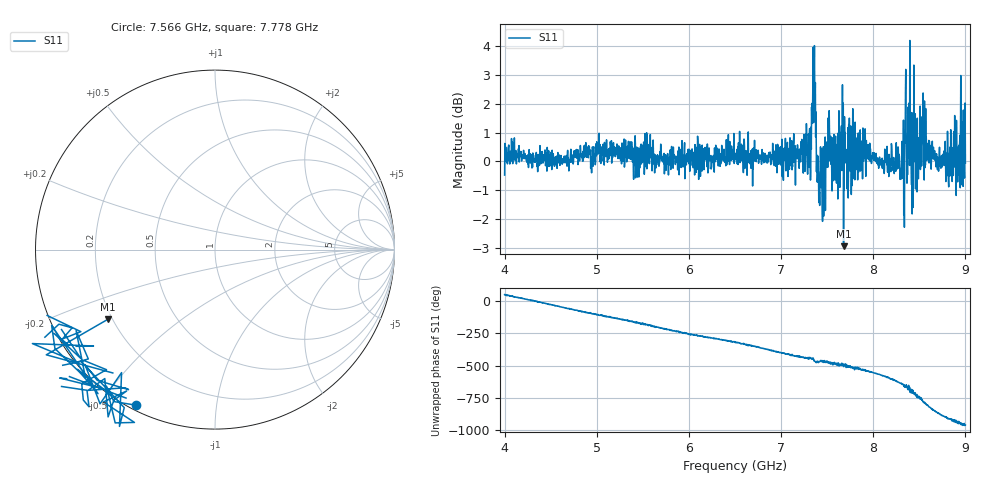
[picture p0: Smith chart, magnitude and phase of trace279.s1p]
! Created with skrf 1.8.0 (http://scikit-rf.org).
# Hz S RI R 50.0
!freq ReS11 ImS11
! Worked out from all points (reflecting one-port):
!   1601 points, 4 GHz to 9 GHz, reference 50 ohm
!   lowest |S11| = -2.9 dB at 7.678 GHz (marker M1), VSWR 5.96, Z = 9.11 - j14.4 ohm
!   phase of S11 starts at 53 deg and turns -1017 deg over the sweep
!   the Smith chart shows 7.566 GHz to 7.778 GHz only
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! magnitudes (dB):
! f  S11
! 4 GHz  -0.5
! 4.1 GHz  0.5
! 4.625 GHz  -0.1
! 5.25 GHz  0.1
! 5.875 GHz  0.2
! 6.5 GHz  0.1
! 7.125 GHz  -0.2
! 7.303 GHz  -0.2
! 7.356 GHz  3.3
! 7.4 GHz  0.2
! 7.428 GHz  0.5
! 7.512 GHz  1.5
! 7.591 GHz  0.9
! 7.619 GHz  1.0
! 7.65 GHz  0.5
! 7.678 GHz  -2.9
! 7.703 GHz  0.3
! 7.75 GHz  0.1
! 7.891 GHz  0.4
! 8.262 GHz  -0.2
! 8.316 GHz  -0.1
! 8.375 GHz  1.9
! 8.475 GHz  -1.1
! 8.522 GHz  1.1
! 8.719 GHz  0.5
! 8.838 GHz  -0.5
! 8.972 GHz  0.7
! 9 GHz  -0.1
